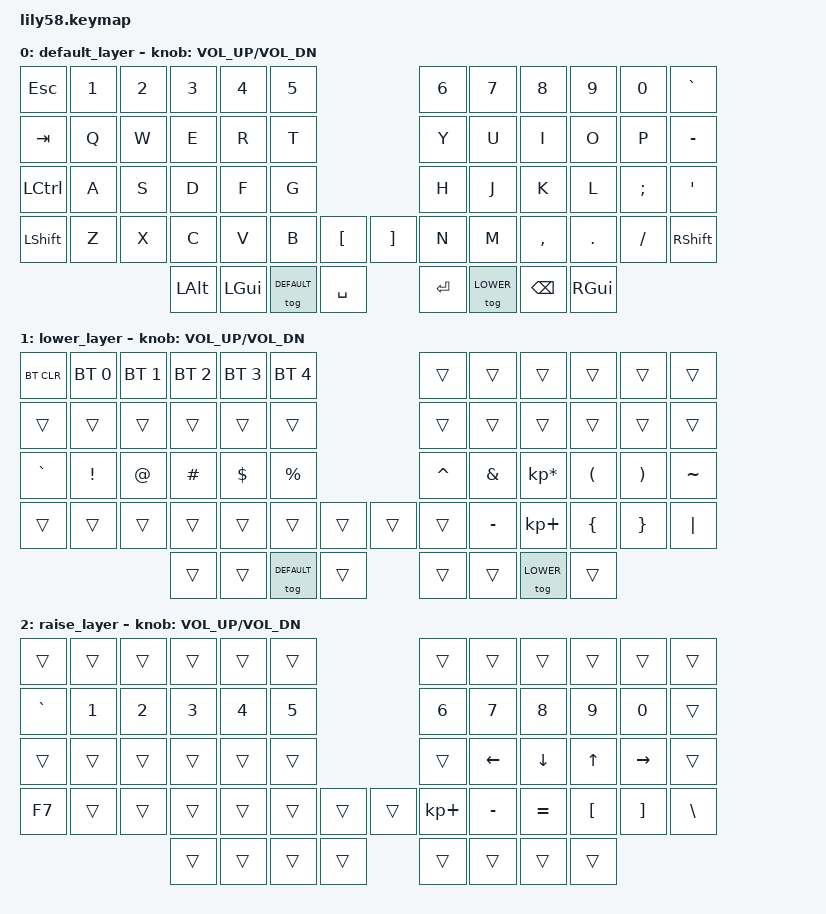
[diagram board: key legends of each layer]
/*
 * Copyright (c) 2020 The ZMK Contributors
 *
 * SPDX-License-Identifier: MIT
 */

#include <behaviors.dtsi>
#include <dt-bindings/zmk/keys.h>
#include <dt-bindings/zmk/bt.h>
#include <dt-bindings/zmk/ext_power.h>
#define DEFAULT 0
#define LOWER   1
#define RAISE   2
/ {
	keymap {
		compatible = "zmk,keymap";

		default_layer {
// ------------------------------------------------------------------------------------------------------------
// |  ESC  |  1  |  2  |  3   |  4   |  5   |                   |  6   |  7    |  8    |  9   |   0   |   `   |
// |  TAB  |  Q  |  W  |  E   |  R   |  T   |                   |  Y   |  U    |  I    |  O   |   P   |   -   |
// |  CTRL |  A  |  S  |  D   |  F   |  G   |                   |  H   |  J    |  K    |  L   |   ;   |   '   |
// | SHIFT |  Z  |  X  |  C   |  V   |  B   |   "["  |  |  "]"  |  N   |  M    |  ,    |  .   |   /   | SHIFT |
//                     | ALT  | GUI  | DEFUALT |  SPACE |  | ENTER |LOWER| BSPC  | GUI   |
			bindings = <
&kp ESC   &kp N1 &kp N2 &kp N3   &kp N4   &kp N5                     &kp N6 &kp N7   &kp N8    &kp N9  &kp N0   &kp GRAVE
&kp TAB   &kp Q  &kp W  &kp E    &kp R    &kp T                      &kp Y  &kp U    &kp I     &kp O   &kp P    &kp MINUS
&kp LCTRL &kp A  &kp S  &kp D    &kp F    &kp G                      &kp H  &kp J    &kp K     &kp L   &kp SEMI &kp SQT
&kp LSHFT &kp Z  &kp X  &kp C    &kp V    &kp B  &kp LBKT   &kp RBKT &kp N  &kp M    &kp COMMA &kp DOT &kp FSLH &kp RSHFT
                        &kp LALT &kp LGUI &tog DEFAULT  &kp SPACE  &kp RET  &tog LOWER  &kp BSPC &kp RGUI
			>;

			sensor-bindings = <&inc_dec_kp C_VOL_UP C_VOL_DN>;
		};

		lower_layer {
// ------------------------------------------------------------------------------------------------------------
// | BTCLR | BT1 | BT2 |  BT3 |  BT4 |  BT5 |                   |      |       |       |      |       |       |
// |       |     |     |      |      |      |                   |      |       |       |      |       |       |
// |   `   |  !  |  @  |  #   |  $   |  %   |                   |  ^   |  &    |  *    |  (   |   )   |   ~   |
// |       |     |     |      |      |      |        |  |       |      |  _    |  +    |  {   |   }   |  "|"  |
//                     |      |      | DEFUALT |        |  |       | LOWER     |       |       |
			bindings = <
&bt BT_CLR &bt BT_SEL 0     &bt BT_SEL 1      &bt BT_SEL 2      &bt BT_SEL 3 &bt BT_SEL 4                 &trans    &trans    &trans       &trans    &trans    &trans
&trans     &trans           &trans            &trans            &trans       &trans                       &trans    &trans    &trans       &trans    &trans    &trans
&kp GRAVE  &kp EXCL         &kp AT            &kp HASH          &kp DOLLAR   &kp PRCNT                    &kp CARET &kp AMPS  &kp KP_MULTIPLY &kp LPAR  &kp RPAR  &kp TILDE
&trans     &trans &trans &trans &trans       &trans    &trans   &trans    &trans    &kp MINUS &kp KP_PLUS     &kp LBRC  &kp RBRC  &kp PIPE
                                              &trans            &trans       &tog DEFAULT    &trans   &trans    &trans    &tog LOWER   &trans
			>;

			sensor-bindings = <&inc_dec_kp C_VOL_UP C_VOL_DN>;
		};

		raise_layer {
// ------------------------------------------------------------------------------------------------------------
// |       |     |     |      |      |      |                   |      |       |       |      |       |       |
// |   `   |  1  |  2  |  3   |  4   |  5   |                   |  6   |   7   |   8   |  9   |   0   |       |
// |       |     |     |      |      |      |                   |      |   <-  |   v   |  ^   |  ->   |       |
// |       |     |     |      |      |      |        |  |       |  +   |   -   |   =   |  [   |   ]   |   \   |
//                     |      |      |      |        |  |       |      |       |       |
			bindings = <
&trans    &trans &trans &trans  &trans  &trans                       &trans      &trans    &trans    &trans   &trans    &trans
&kp GRAVE &kp N1 &kp N2 &kp N3  &kp N4  &kp N5                       &kp N6      &kp N7    &kp N8    &kp N9   &kp N0    &trans
&trans    &trans &trans &trans  &trans  &trans                       &trans      &kp LEFT  &kp DOWN  &kp UP   &kp RIGHT &trans
&kp F7    &trans &trans &trans  &trans &trans   &trans   &trans    &kp KP_PLUS &kp MINUS &kp EQUAL &kp LBKT &kp RBKT  &kp BSLH
                        &trans  &trans  &trans    &trans   &trans    &trans      &trans    &trans
			>;

			sensor-bindings = <&inc_dec_kp C_VOL_UP C_VOL_DN>;
		};
	};
};
